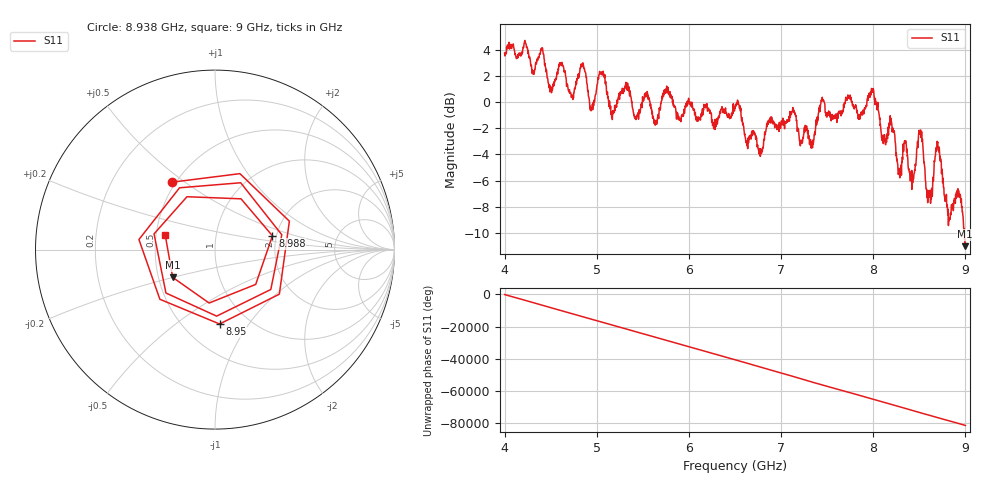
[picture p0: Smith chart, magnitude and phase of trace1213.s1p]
! Created with skrf 1.8.0 (http://scikit-rf.org).
# Hz S RI R 50.0
!freq ReS11 ImS11
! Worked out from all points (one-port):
!   1601 points, 4 GHz to 9 GHz, reference 50 ohm
!   lowest |S11| = -11.0 dB at 8.997 GHz (marker M1), VSWR 1.79, Z = 29.7 - j9.98 ohm
!   |S11| at or under -10 dB: 8.989224 GHz to end of sweep
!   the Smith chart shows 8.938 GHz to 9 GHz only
!   S11 on the Smith chart (normalised r, x): 8.938 GHz: 0.48, +0.45; 8.95 GHz: 0.74, -0.74; 8.988 GHz: 1.90, +0.33; 9 GHz: 0.56, +0.10
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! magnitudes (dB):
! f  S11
! 4 GHz  3.8
! 4.625 GHz  3.0
! 4.731 GHz  0.5
! 4.853 GHz  2.8
! 4.941 GHz  -0.5
! 5.047 GHz  2.3
! 5.166 GHz  -1.0
! 5.25 GHz  0.6
! 5.875 GHz  -0.9
! 6.5 GHz  -0.5
! 6.775 GHz  -4.2
! 7.125 GHz  -0.6
! 7.331 GHz  -3.2
! 7.444 GHz  0.2
! 7.75 GHz  0.5
! 7.988 GHz  0.7
! 8.281 GHz  -5.1
! 8.375 GHz  -4.3
! 8.428 GHz  -6.2
! 8.512 GHz  -2.1
! 8.606 GHz  -6.7
! 8.7 GHz  -3.1
! 8.822 GHz  -9.1
! 8.938 GHz  -7.0
! 8.95 GHz  -7.6
! 8.988 GHz  -9.7
! 8.997 GHz  -11.0
! 9 GHz  -10.8
